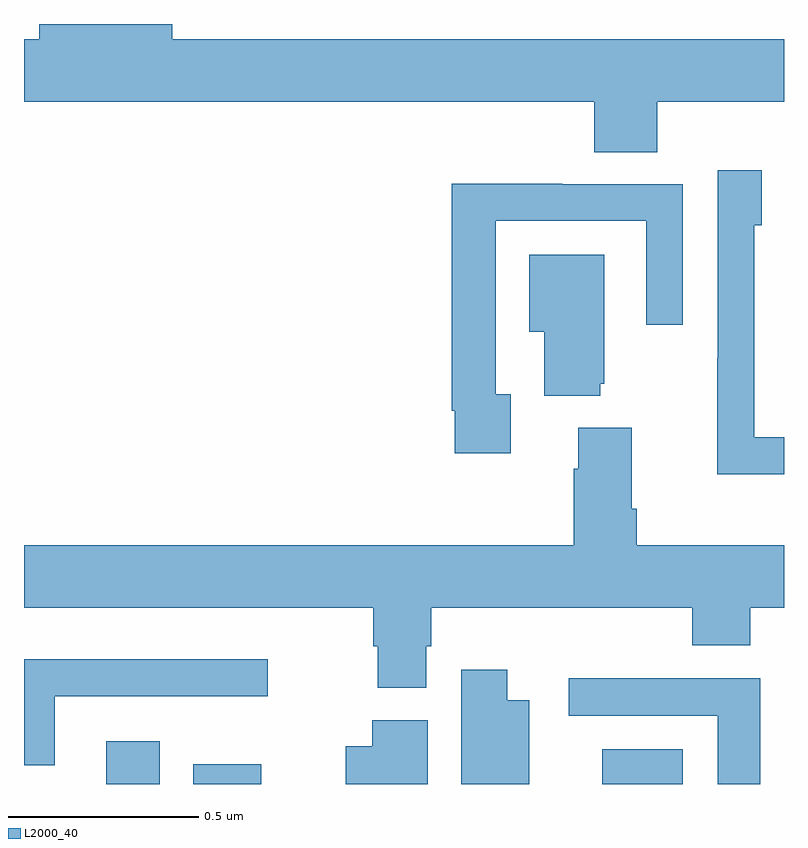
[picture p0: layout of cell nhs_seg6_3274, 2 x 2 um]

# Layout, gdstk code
import gdstk
lib = gdstk.Library(unit=1e-6, precision=1e-09)
def R(c, l, rs):  # rectangles x0, y0, x1, y1
    for r in rs: c.add(gdstk.rectangle(r[:2], r[2:], *l))
def P(c, l, *ps):  # polygons
    for p in ps: c.add(gdstk.Polygon(p, *l))
L2000_40 = (2000, 40)

nhs_seg6_3274 = lib.new_cell('nhs_seg6_3274')
R(nhs_seg6_3274, L2000_40, [(154.217,985.5,154.357,985.612), (154.445,985.5,154.624,985.552), (155.522,985.5,155.734,985.591)])
P(nhs_seg6_3274, L2000_40, [(155.666,987.296),(156,987.296),(156,987.46),(154.39,987.46),(154.39,987.5),(154.04,987.5),(154.04,987.46),(154,987.46),(154,987.296),(155.501,987.296),(155.501,987.163),(155.666,987.163)],
  [(156,986.412),(155.922,986.412),(155.922,986.97),(155.941,986.97),(155.941,987.115),(155.826,987.115),(155.826,986.621),(155.824,986.621),(155.824,986.315),(156,986.315)],
  [(155.281,986.526),(155.241,986.526),(155.241,986.982),(155.637,986.982),(155.637,986.709),(155.733,986.709),(155.733,987.078),(155.417,987.078),(155.417,987.08),(155.125,987.08),(155.125,986.482),(155.133,986.482),(155.133,986.37),(155.281,986.37)],
  [(155.516,986.553),(155.527,986.553),(155.527,986.893),(155.33,986.893),(155.33,986.69),(155.369,986.69),(155.369,986.522),(155.516,986.522)],
  [(155.059,985.863),(155.072,985.863),(155.072,985.964),(155.759,985.964),(155.759,985.865),(155.911,985.865),(155.911,985.964),(156,985.964),(156,986.128),(155.612,986.128),(155.612,986.224),(155.599,986.224),(155.599,986.437),(155.459,986.437),(155.459,986.33),(155.447,986.33),(155.447,986.128),(154,986.128),(154,985.964),(154.919,985.964),(154.919,985.863),(154.931,985.863),(154.931,985.753),(155.059,985.753)],
  [(154.081,985.731),(154.642,985.731),(154.642,985.828),(154,985.828),(154,985.55),(154.081,985.55)],
  [(155.329,985.72),(155.272,985.72),(155.272,985.801),(155.15,985.801),(155.15,985.5),(155.329,985.5)],
  [(155.938,985.778),(155.433,985.778),(155.433,985.68),(155.825,985.68),(155.825,985.5),(155.938,985.5)],
  [(155.062,985.668),(154.916,985.668),(154.916,985.6),(154.847,985.6),(154.847,985.5),(155.062,985.5)])

lib.write_gds('nhs_seg6_3274.gds')
